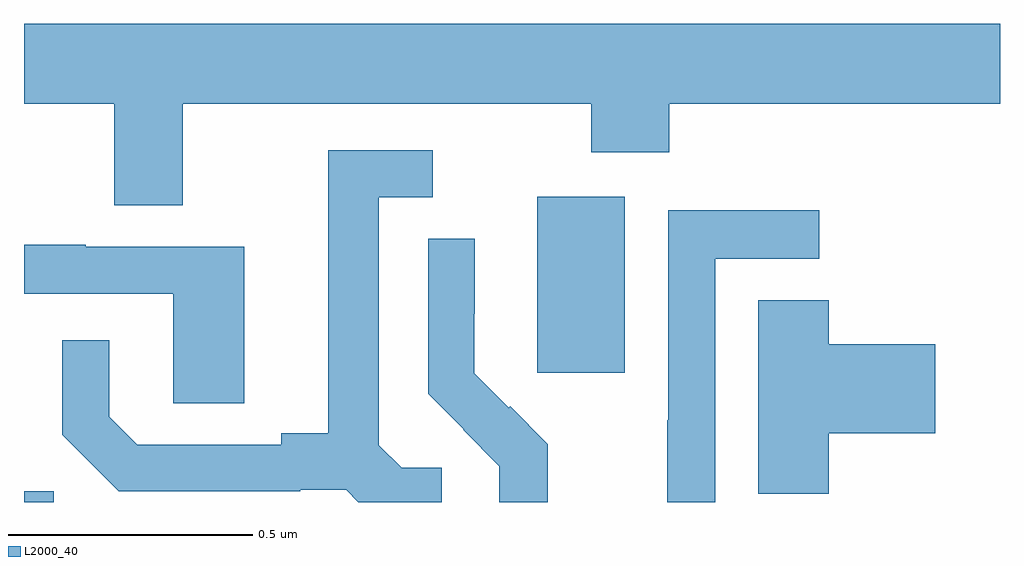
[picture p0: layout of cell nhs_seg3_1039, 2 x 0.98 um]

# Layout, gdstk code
import gdstk
lib = gdstk.Library(unit=1e-6, precision=1e-09)
def R(c, l, rs):  # rectangles x0, y0, x1, y1
    for r in rs: c.add(gdstk.rectangle(r[:2], r[2:], *l))
def P(c, l, *ps):  # polygons
    for p in ps: c.add(gdstk.Polygon(p, *l))
L2000_40 = (2000, 40)

nhs_seg3_1039 = lib.new_cell('nhs_seg3_1039')
R(nhs_seg3_1039, L2000_40, [(123,733.4,123.061,733.422), (124.052,733.665,124.231,734.026)])
P(nhs_seg3_1039, L2000_40, [(123.325,734.216),(124.162,734.216),(124.162,734.117),(124.322,734.117),(124.322,734.216),(125,734.216),(125,734.38),(123,734.38),(123,734.216),(123.185,734.216),(123.185,734.008),(123.325,734.008)],
  [(123.856,733.47),(123.774,733.47),(123.727,733.517),(123.727,734.025),(123.838,734.025),(123.838,734.121),(123.623,734.121),(123.623,733.541),(123.527,733.541),(123.527,733.518),(123.232,733.518),(123.175,733.575),(123.175,733.732),(123.078,733.732),(123.078,733.538),(123.194,733.422),(123.566,733.422),(123.566,733.425),(123.66,733.425),(123.685,733.4),(123.856,733.4)],
  [(124.416,733.899),(124.63,733.899),(124.63,733.998),(124.32,733.998),(124.32,733.568),(124.318,733.568),(124.318,733.4),(124.416,733.4)],
  [(124.073,733.519),(123.996,733.596),(123.993,733.593),(123.923,733.664),(123.923,733.786),(123.924,733.786),(123.924,733.94),(123.828,733.94),(123.828,733.622),(123.901,733.549),(123.9,733.548),(123.974,733.474),(123.974,733.4),(124.073,733.4)],
  [(123.451,733.923),(123.127,733.923),(123.127,733.927),(123,733.927),(123,733.827),(123.306,733.827),(123.306,733.603),(123.451,733.603)],
  [(124.649,733.541),(124.867,733.541),(124.867,733.724),(124.649,733.724),(124.649,733.814),(124.505,733.814),(124.505,733.417),(124.649,733.417)])

lib.write_gds('nhs_seg3_1039.gds')
